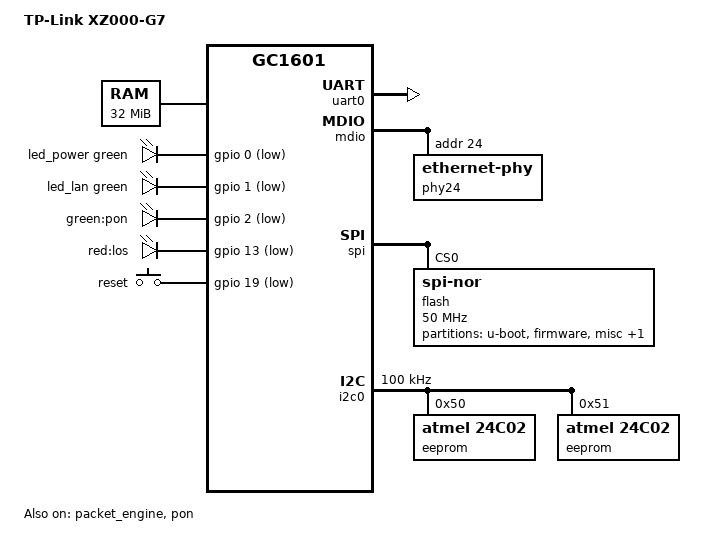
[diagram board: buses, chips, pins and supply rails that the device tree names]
// SPDX-License-Identifier: (GPL-2.0-only OR BSD-2-Clause)
/dts-v1/;
#include <dt-bindings/gpio/gpio.h>
#include <dt-bindings/input/input.h>
#include <dt-bindings/leds/common.h>
#include "gc1601.dtsi"

/ {
	model = "TP-Link XZ000-G7";
	compatible = "tplink,xz000-g7", "galachip,gc1601";

	aliases {
		serial0 = &uart0;
		led-boot = &led_power;
		led-failsafe = &led_power;
		led-running = &led_power;
		led-upgrade = &led_power;
	};

	chosen {
		stdout-path = "serial0:115200n8";
	};

	memory@40000000 {
		device_type = "memory";
		reg = <0x40000000 0x02000000>;
	};

	reserved-memory {
		#address-cells = <1>;
		#size-cells = <1>;
		ranges;

		/* The loader leaves these DMA pointers installed when Linux starts. */
		loader_dma: dma@40800000 {
			reg = <0x40800000 0x00112000>;
		};
	};

	leds {
		compatible = "gpio-leds";

		led_power: led-power {
			function = LED_FUNCTION_POWER;
			color = <LED_COLOR_ID_GREEN>;
			gpios = <&gpio 0 GPIO_ACTIVE_LOW>;
			default-state = "on";
		};

		led_lan: led-lan {
			function = LED_FUNCTION_LAN;
			color = <LED_COLOR_ID_GREEN>;
			gpios = <&gpio 1 GPIO_ACTIVE_LOW>;
			default-state = "off";
		};

		led_pon: led-pon {
			label = "green:pon";
			gpios = <&gpio 2 GPIO_ACTIVE_LOW>;
			default-state = "off";
		};

		led_los: led-los {
			label = "red:los";
			gpios = <&gpio 13 GPIO_ACTIVE_LOW>;
			default-state = "off";
		};
	};

	keys {
		compatible = "gpio-keys";

		key-reset {
			label = "reset";
			gpios = <&gpio 19 GPIO_ACTIVE_LOW>;
			linux,code = <KEY_RESTART>;
		};
	};
};

&gpio {
	status = "okay";
};

&uart0 {
	status = "okay";
};

&mdio {
	status = "okay";

	phy24: ethernet-phy@18 {
		reg = <0x18>;
	};
};

&spi {
	status = "okay";

	flash@0 {
		compatible = "jedec,spi-nor";
		reg = <0>;
		spi-max-frequency = <50000000>;

		partitions {
			compatible = "fixed-partitions";
			#address-cells = <1>;
			#size-cells = <1>;

			partition@0 {
				label = "u-boot";
				reg = <0x000000 0x020000>;
				read-only;
			};

			partition@20000 {
				compatible = "galachip,gc1601-fw";
				label = "firmware";
				reg = <0x020000 0x3b0000>;
			};

			partition@3d0000 {
				compatible = "nvmem-cells";
				label = "misc";
				reg = <0x3d0000 0x020000>;
				read-only;
				#address-cells = <1>;
				#size-cells = <1>;

				macaddr_misc: macaddr@1f100 {
					reg = <0x1f100 0x6>;
				};
			};

			partition@3f0000 {
				label = "hwconfig";
				reg = <0x3f0000 0x010000>;
				read-only;
			};
		};
	};
};

&packet_engine {
	phy-handle = <&phy24>;
	phy-mode = "sgmii";
	nvmem-cells = <&macaddr_misc>;
	nvmem-cell-names = "mac-address";
	status = "okay";
};

&i2c0 {
	clock-frequency = <100000>;
	status = "okay";

	/* BOSA controller (UX3320S), SFF-8472 style A0/A2 pages. Read-only. */
	eeprom@50 {
		compatible = "atmel,24c02";
		reg = <0x50>;
		read-only;
	};

	eeprom@51 {
		compatible = "atmel,24c02";
		reg = <0x51>;
		read-only;
	};
};

&pon {
	galachip,bosa-i2c = <&i2c0>;
	/*
	 * Bring the PON up at boot like the stock rcS: SerDes, BOSA tables from
	 * hwconfig (lost on every power cycle), GPON MAC receive-only. The laser
	 * stays off until allow_tx; the first ranging also waits for omci-agent
	 * to apply the UCI identity.
	 */
	galachip,pon-bringup;
	galachip,gpon-autostart;
	galachip,gpon-identity-wait-ms = <30000>;
	/*
	 * Stock identity from the misc config (X_TP_OmciCapability, DeviceInfo).
	 * Default serial: vendor + factory MAC; omci-agent sets the ISP one.
	 */
	omci-vendor-id = "TPLG";
	omci-equipment-id = "XZ000-G7";
	omci-version = "XZ000-G7 v1.0";
	omci-onu-type = /bits/ 8 <1>;	/* SFU */
	omci-uni-ports = <&packet_engine>;
	nvmem-cells = <&macaddr_misc>;
	nvmem-cell-names = "mac-address";

	leds = <&led_pon>, <&led_los>;
	led-names = "pon", "los";
	status = "okay";
};
